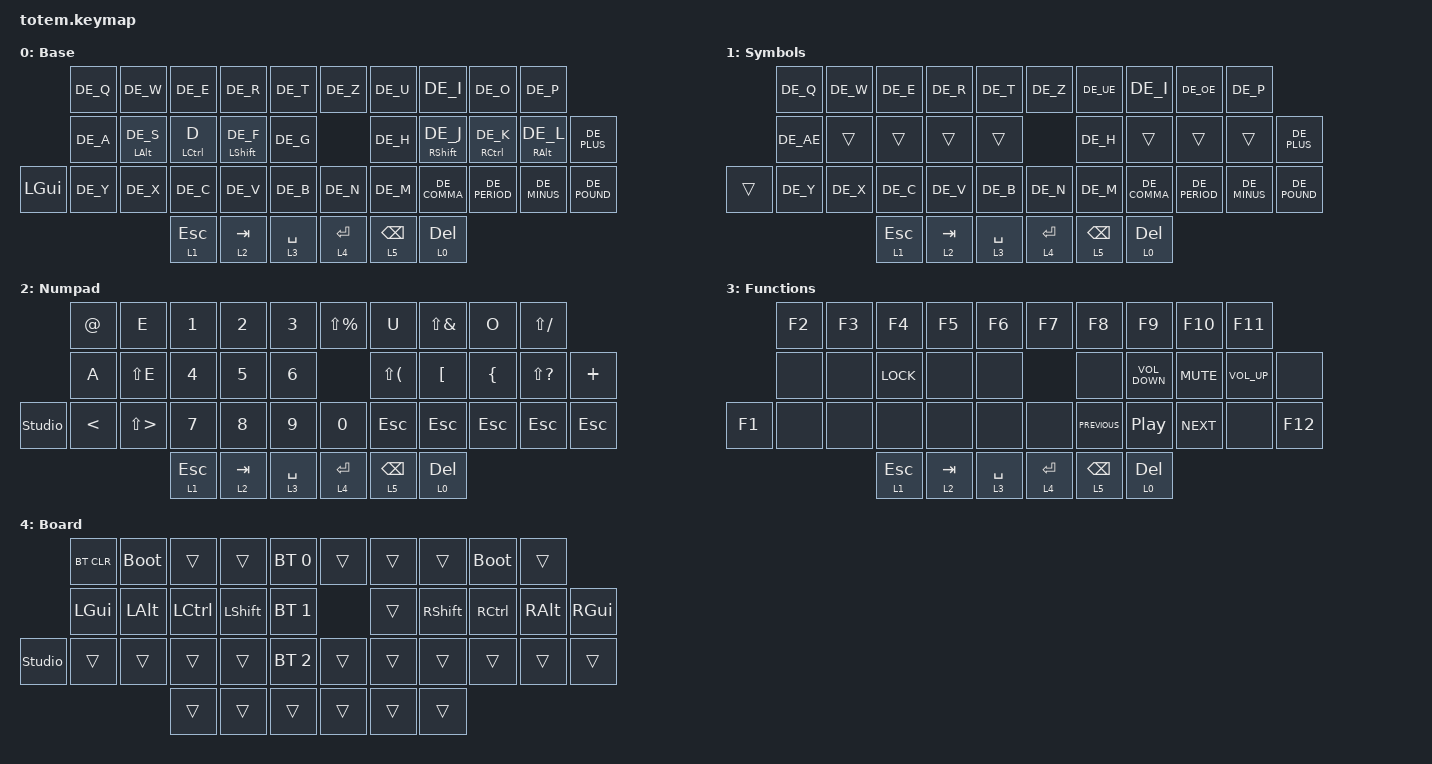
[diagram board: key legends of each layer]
// ▄▄▄▄▄▄▄▄▄▄▄▄▄▄▄▄▄▄▄▄▄▄▄▄▄▄▄▄▄▄▄▄▄▄▄▄▄▄▄▄▄▄▄▄▄
//
//
//    ▀▀▀▀▀     ▀▀▀▀▀          ▀▀█▀▀
//    ▄▀▀▀▄  ▄  ▄▀▀▀▄  ▄  ▄▀▀▀▄  █  ▄▀▀▀▄
//    █   █  █  █   █  █  █   █  █  █   █
//     ▀▀▀   █   ▀▀▀   █   ▀▀▀   ▀   ▀▀▀
//           █      ▄▄▄█▄▄▄    █   █
//           ▀      █  █  █     █▄█
//         ▀▀▀▀▀    █  █  █      ▀
//                  ▀  ▀  ▀
//
// ▄▄▄▄▄▄▄▄▄▄▄▄▄▄▄▄▄▄▄▄▄▄▄▄▄▄▄▄▄▄▄▄▄▄▄▄▄▄▄▄▄▄▄▄▄
//
// https://zmk.dev/docs/keymaps
// https://nickcoutsos.github.io/keymap-editor
//
// ▄▄▄▄▄▄▄▄▄▄▄▄▄▄▄▄▄▄▄▄▄▄▄▄▄▄▄▄▄▄▄▄▄▄▄▄▄▄▄▄▄▄▄▄▄

#include <behaviors.dtsi>
#include <dt-bindings/zmk/bt.h>
#include <dt-bindings/zmk/keys.h>

#include "keys_de.h"

#define Base       0
#define Sym        1
#define Num        2
#define Func       3
#define Board      4
#define Reserved1  5
#define Reserved2  6
#define Reserved3  7

&lt {
    tapping-term-ms = <240>;
    flavor = "balanced";
    quick-tap-ms = <150>;
};

/ {
    behaviors {
        // left-hand and right-hand homerow mods, based on mod-tap behavior
        mt_left: mt_left {
            compatible = "zmk,behavior-hold-tap";
            bindings = <&kp>, <&kp>;

            #binding-cells = <2>;
            flavor = "hold-preferred";
            tapping-term-ms = <175>;
            quick-tap-ms = <175>;
            require-prior-idle-ms = <20>;
            hold-trigger-key-positions = <5 6 7 8 9 15 16 17 18 19 26 27 28 29 30>;
        };

        mt_right: mt_right {
            compatible = "zmk,behavior-hold-tap";
            bindings = <&kp>, <&kp>;

            #binding-cells = <2>;
            flavor = "hold-preferred";
            tapping-term-ms = <175>;
            quick-tap-ms = <175>;
            require-prior-idle-ms = <20>;
            hold-trigger-key-positions = <0 1 2 3 4 10 11 12 13 14 21 22 23 24 25>;
        };
    };

    keymap {
        compatible = "zmk,keymap";

        //             ┏━━━━━━━━━━━┳━━━━━━━━━━━┳━━━━━━━━━━━┳━━━━━━━━━━━┳━━━━━━━━━━━┓   ┏━━━━━━━━━━━┳━━━━━━━━━━━┳━━━━━━━━━━━┳━━━━━━━━━━━┳━━━━━━━━━━━┓
        //             ┃0    Q     ┃1    W     ┃2    E     ┃3    R     ┃4    T     ┃   ┃5    Z     ┃6    U     ┃7    I     ┃8    O     ┃9    P     ┃
        //             ┣━━━━━━━━━━━╋━━━━━━━━━━━╋━━━━━━━━━━━╋━━━━━━━━━━━╋━━━━━━━━━━━┫   ┣━━━━━━━━━━━╋━━━━━━━━━━━╋━━━━━━━━━━━╋━━━━━━━━━━━╋━━━━━━━━━━━┫
        //             ┃10 LGUI A  ┃11 LALT S  ┃12 LCTRL D ┃13 LSHIFT F┃14   G     ┃   ┃15    H    ┃16 RSHFT J ┃17 RCTRL K ┃18 RALT L  ┃19   O     ┃
        // ┏━━━━━━━━━━━╋━━━━━━━━━━━╋━━━━━━━━━━━╋━━━━━━━━━━━╋━━━━━━━━━━━╋━━━━━━━━━━━┫   ┣━━━━━━━━━━━╋━━━━━━━━━━━╋━━━━━━━━━━━╋━━━━━━━━━━━╋━━━━━━━━━━━╋━━━━━━━━━━━┓
        // ┃20         ┃21   Y     ┃22   X     ┃23   C     ┃24   V     ┃25   B     ┃   ┃26   N     ┃27   M     ┃28   ,     ┃29   .     ┃30   -     ┃31         ┃
        // ┗━━━━━━━━━━━┻━━━━━━━━━━━┻━━━━━━━━━━━╋━━━━━━━━━━━╋━━━━━━━━━━━╋━━━━━━━━━━━┫   ┣━━━━━━━━━━━╋━━━━━━━━━━━╋━━━━━━━━━━━╋━━━━━━━━━━━┻━━━━━━━━━━━┻━━━━━━━━━━━┛
        //                                     ┃32 L1 ESC  ┃33 L2 TAB  ┃34 L3 SPC  ┃   ┃35 L4 ENTER┃36 L5 BSPC ┃37 L0 DEL  ┃
        //                                     ┗━━━━━━━━━━━┻━━━━━━━━━━━┻━━━━━━━━━━━┛   ┗━━━━━━━━━━━┻━━━━━━━━━━━┻━━━━━━━━━━━┛

        Base {
            display-name = "Base";
            bindings = <
              &kp DE_Q  &kp DE_W            &kp DE_E           &kp DE_R              &kp DE_T          &kp DE_Z        &kp DE_U            &kp DE_I           &kp DE_O          &kp DE_P
              &kp DE_A  &mt_left LALT DE_S  &mt_left LCTRL D   &mt_left LSHIFT DE_F  &kp DE_G          &kp DE_H        &mt_right RSHFT DE_J   &mt_right RCTRL DE_K  &mt_right RALT DE_L  &kp DE_PLUS
&kp LEFT_GUI  &kp DE_Y  &kp DE_X            &kp DE_C           &kp DE_V              &kp DE_B          &kp DE_N        &kp DE_M            &kp DE_COMMA       &kp DE_PERIOD     &kp DE_MINUS  &kp DE_POUND
                                    &lt 1 ESCAPE    &lt 2 TAB        &lt 3 SPACE    &lt 4 ENTER  &lt 5 BACKSPACE  &lt 0 DELETE
            >;
        };

        Sym {
            display-name = "Symbols";
            bindings = <
              &kp DE_Q   &kp DE_W     &kp DE_E    &kp DE_R        &kp DE_T          &kp DE_Z        &kp DE_UE       &kp DE_I           &kp DE_OE         &kp DE_P
              &kp DE_AE  &trans       &trans      &trans          &trans            &kp DE_H        &trans          &trans             &trans            &kp DE_PLUS
&trans  &kp DE_Y  &kp DE_X            &kp DE_C    &kp DE_V        &kp DE_B          &kp DE_N        &kp DE_M        &kp DE_COMMA       &kp DE_PERIOD     &kp DE_MINUS  &kp DE_POUND
                                    &lt 1 ESCAPE    &lt 2 TAB        &lt 3 SPACE    &lt 4 ENTER  &lt 5 BACKSPACE  &lt 0 DELETE
            >;
        };

        Num {
            display-name = "Numpad";
            bindings = <
                &kp AT  &kp E       &kp N1        &kp N2     &kp N3         &kp LS(PRCNT)  &kp U            &kp LS(AMPS)  &kp O          &kp LS(FSLH)
                &kp A   &kp LS(E)   &kp N4        &kp N5     &kp N6         &kp LS(LPAR)   &kp LBKT         &kp LBRC      &kp LS(QMARK)  &kp PLUS
&studio_unlock  &kp LT  &kp LS(GT)  &kp N7        &kp N8     &kp N9         &kp N0         &kp ESC          &kp ESC       &kp ESC        &kp ESC       &kp ESC
                                    &lt 1 ESCAPE  &lt 2 TAB  &lt 3 SPACE    &lt 4 ENTER    &lt 5 BACKSPACE  &lt 0 DELETE
            >;
        };

        Func {
            display-name = "Functions";
            bindings = <
        &kp F2  &kp F3  &kp F4        &kp F5     &kp F6         &kp F7       &kp F8             &kp F9            &kp F10          &kp F11
        &none   &none   &kp K_LOCK    &none      &none          &none        &kp C_VOLUME_DOWN  &kp C_MUTE        &kp C_VOLUME_UP  &none
&kp F1  &none   &none   &none         &none      &none          &none        &kp C_PREVIOUS     &kp C_PLAY_PAUSE  &kp C_NEXT       &none    &kp F12
                        &lt 1 ESCAPE  &lt 2 TAB  &lt 3 SPACE    &lt 4 ENTER  &lt 5 BACKSPACE    &lt 0 DELETE
            >;
        };

        Board {
            display-name = "Board";
            bindings = <
                &bt BT_CLR  &bootloader  &trans     &trans      &bt BT_SEL 0    &trans  &trans      &trans     &bootloader  &trans
                &kp LGUI    &kp LALT     &kp LCTRL  &kp LSHIFT  &bt BT_SEL 1    &trans  &kp RSHIFT  &kp RCTRL  &kp RALT     &kp RGUI
&studio_unlock  &trans      &trans       &trans     &trans      &bt BT_SEL 2    &trans  &trans      &trans     &trans       &trans    &trans
                                         &trans     &trans      &trans          &trans  &trans      &trans
            >;
        };

        // reserved layers for use with ZMK Studio https://zmk.studio/

        Reserved1 {
            display-name = "Layer 1";
            status = "reserved";
        };

        Reserved2 {
            display-name = "Layer 2";
            status = "reserved";
        };

        Reserved3 {
            display-name = "Layer 3";
            status = "reserved";
        };
    };
};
